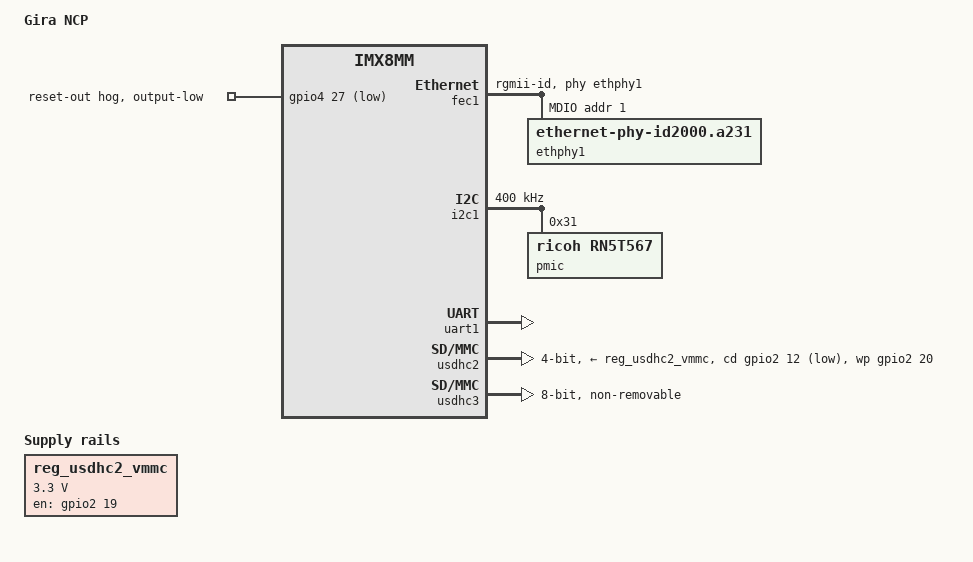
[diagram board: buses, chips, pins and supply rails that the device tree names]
// SPDX-License-Identifier: (GPL-2.0 OR MIT)
/*
 * Copyright 2026 Pengutronix
 */

/dts-v1/;

#include <arm64/freescale/imx8mm.dtsi>
#include <dt-bindings/net/ti-dp83867.h>
#include "imx8mm.dtsi"

/ {
	model = "Gira NCP";
	compatible = "gira,ncp", "fsl,imx8mm";

	chosen {
		stdout-path = &uart1;

		environment-sd {
			compatible = "barebox,environment";
			device-path = &env_usdhc2;
			status = "disabled";
		};

		environment-emmc {
			compatible = "barebox,environment";
			device-path = &env_usdhc3;
			status = "disabled";
		};
	};

	reg_usdhc2_vmmc: regulator-usdhc2 {
		compatible = "regulator-fixed";
		pinctrl-names = "default";
		pinctrl-0 = <&pinctrl_reg_usdhc2_vmmc>;
		regulator-name = "VSD_3V3";
		regulator-min-microvolt = <3300000>;
		regulator-max-microvolt = <3300000>;
		gpio = <&gpio2 19 GPIO_ACTIVE_HIGH>;
		enable-active-high;
		off-on-delay-us = <100000>;
	};
};

&fec1 {
	pinctrl-names = "default";
	pinctrl-0 = <&pinctrl_fec1>;
	phy-mode = "rgmii-id";
	phy-handle = <&ethphy1>;
	fsl,magic-packet;
	status = "okay";

	mdio {
		#address-cells = <1>;
		#size-cells = <0>;

		ethphy1: ethernet-phy@1 {
			compatible = "ethernet-phy-id2000.a231";
			reg = <1>;
			max-speed = <100>;
			ti,rx-internal-delay = <DP83867_RGMIIDCTL_2_25_NS>;
			ti,tx-internal-delay = <DP83867_RGMIIDCTL_2_75_NS>;
			ti,fifo-depth = <DP83867_PHYCR_FIFO_DEPTH_4_B_NIB>;
			ti,clk-output-sel = <DP83867_CLK_O_SEL_OFF>;
		};
	};
};

&gpio4 {
	/* This reset gpio affects an unknown number of peripherals, as it
	 * is derived from the SM2 module standard reset output, but we
	 * have no schematics to validate which peripherals it connects to
	 * in the NCP custom design.
	 */
	reset-out-hog {
		gpio-hog;
		gpios = <27 GPIO_ACTIVE_LOW>;
		line-name = "reset-out";
		output-low;
	};
};

&i2c1 {
	clock-frequency = <400000>;
	pinctrl-names = "default";
	pinctrl-0 = <&pinctrl_i2c1>;
	status = "okay";

	pmic@31 {
		compatible = "ricoh,rn5t567";
		reg = <0x31>;
		system-power-controller;
	};
};

&uart1 {
	pinctrl-names = "default";
	pinctrl-0 = <&pinctrl_uart1>;
	status = "okay";
};

&usdhc2 {
        pinctrl-names = "default";
        pinctrl-0 = <&pinctrl_usdhc2>;
        bus-width = <4>;
        cd-gpios = <&gpio2 12 GPIO_ACTIVE_LOW>;
        wp-gpios = <&gpio2 20 GPIO_ACTIVE_HIGH>;
        vmmc-supply = <&reg_usdhc2_vmmc>;
        no-1-8-v;
        status = "okay";

        partitions {
		compatible = "barebox,fixed-partitions";
		#address-cells = <2>;
		#size-cells = <2>;

		partition@0 {
			label = "barebox";
			reg = <0x0 0x0 0x0 0xe0000>;
		};

		env_usdhc2: partition@e0000 {
			label = "barebox-environment";
			reg = <0x0 0xe0000 0x0 0x20000>;
		};
	};
};

&usdhc3 {
	assigned-clocks = <&clk IMX8MM_CLK_USDHC3_ROOT>;
	assigned-clock-rates = <400000000>;
	pinctrl-names = "default", "state_100mhz", "state_200mhz";
	pinctrl-0 = <&pinctrl_usdhc3>;
	pinctrl-1 = <&pinctrl_usdhc3_100mhz>;
	pinctrl-2 = <&pinctrl_usdhc3_200mhz>;
	bus-width = <8>;
	non-removable;
	no-sdio;
	no-sd;
	status = "okay";

	partitions {
		compatible = "barebox,fixed-partitions";
		#address-cells = <2>;
		#size-cells = <2>;

		partition@0 {
			label = "barebox";
			reg = <0x0 0x0 0x0 0xe0000>;
		};

		env_usdhc3: partition@e0000 {
			label = "barebox-environment";
			reg = <0x0 0xe0000 0x0 0x20000>;
		};
	};
};

&iomuxc {
	pinctrl_fec1: fec1grp {
		fsl,pins = <
			MX8MM_IOMUXC_ENET_MDC_ENET1_MDC			0x3
			MX8MM_IOMUXC_ENET_MDIO_ENET1_MDIO		0x3
			MX8MM_IOMUXC_ENET_TX_CTL_ENET1_RGMII_TX_CTL	0x1f
			MX8MM_IOMUXC_ENET_TXC_ENET1_RGMII_TXC		0x1f
			MX8MM_IOMUXC_ENET_TD0_ENET1_RGMII_TD0		0x1f
			MX8MM_IOMUXC_ENET_TD1_ENET1_RGMII_TD1		0x1f
			MX8MM_IOMUXC_ENET_TD2_ENET1_RGMII_TD2		0x1f
			MX8MM_IOMUXC_ENET_TD3_ENET1_RGMII_TD3		0x1f
			MX8MM_IOMUXC_ENET_RX_CTL_ENET1_RGMII_RX_CTL	0x91
			MX8MM_IOMUXC_ENET_RXC_ENET1_RGMII_RXC		0x91
			MX8MM_IOMUXC_ENET_RD0_ENET1_RGMII_RD0		0x91
			MX8MM_IOMUXC_ENET_RD1_ENET1_RGMII_RD1		0x91
			MX8MM_IOMUXC_ENET_RD2_ENET1_RGMII_RD2		0x91
			MX8MM_IOMUXC_ENET_RD3_ENET1_RGMII_RD3		0x91
			MX8MM_IOMUXC_SAI5_RXC_GPIO3_IO20		0x19
		>;
	};

	pinctrl_gpio4: gpio4grp {
		fsl,pins = <
			MX8MM_IOMUXC_SAI2_MCLK_GPIO4_IO27		0x100
		>;
	};

	pinctrl_i2c1: i2c1grp {
		fsl,pins = <
			MX8MM_IOMUXC_I2C1_SCL_I2C1_SCL			0x400001c3
			MX8MM_IOMUXC_I2C1_SDA_I2C1_SDA			0x400001c3
		>;
	};

	pinctrl_uart1: uart1grp {
		fsl,pins = <
			MX8MM_IOMUXC_UART1_RXD_UART1_DCE_RX		0x40
			MX8MM_IOMUXC_UART1_TXD_UART1_DCE_TX		0x40
		>;
	};

	pinctrl_usdhc2: usdhc2grp {
		fsl,pins = <
			MX8MM_IOMUXC_SD2_CLK_USDHC2_CLK			0x190
			MX8MM_IOMUXC_SD2_CMD_USDHC2_CMD			0x1d0
			MX8MM_IOMUXC_SD2_DATA0_USDHC2_DATA0		0x1d0
			MX8MM_IOMUXC_SD2_DATA1_USDHC2_DATA1		0x1d0
			MX8MM_IOMUXC_SD2_DATA2_USDHC2_DATA2		0x1d0
			MX8MM_IOMUXC_SD2_DATA3_USDHC2_DATA3		0x1d0
			MX8MM_IOMUXC_SD2_CD_B_GPIO2_IO12		0x41
			MX8MM_IOMUXC_SD2_WP_GPIO2_IO20			0x41
		>;
	};

	pinctrl_usdhc3: usdhc3grp {
		fsl,pins = <
			MX8MM_IOMUXC_NAND_WE_B_USDHC3_CLK		0x190
			MX8MM_IOMUXC_NAND_WP_B_USDHC3_CMD		0x1d0
			MX8MM_IOMUXC_NAND_DATA04_USDHC3_DATA0		0x1d0
			MX8MM_IOMUXC_NAND_DATA05_USDHC3_DATA1		0x1d0
			MX8MM_IOMUXC_NAND_DATA06_USDHC3_DATA2		0x1d0
			MX8MM_IOMUXC_NAND_DATA07_USDHC3_DATA3		0x1d0
			MX8MM_IOMUXC_NAND_RE_B_USDHC3_DATA4		0x1d0
			MX8MM_IOMUXC_NAND_CE2_B_USDHC3_DATA5		0x1d0
			MX8MM_IOMUXC_NAND_CE3_B_USDHC3_DATA6		0x1d0
			MX8MM_IOMUXC_NAND_CLE_USDHC3_DATA7		0x1d0
			MX8MM_IOMUXC_NAND_CE1_B_USDHC3_STROBE		0x190
			MX8MM_IOMUXC_NAND_READY_B_SD3_RESET_B		0x40
		>;
	};

	pinctrl_usdhc3_100mhz: usdhc3grp100mhz {
		fsl,pins = <
			MX8MM_IOMUXC_NAND_WE_B_USDHC3_CLK		0x194
			MX8MM_IOMUXC_NAND_WP_B_USDHC3_CMD		0x1d4
			MX8MM_IOMUXC_NAND_DATA04_USDHC3_DATA0		0x1d4
			MX8MM_IOMUXC_NAND_DATA05_USDHC3_DATA1		0x1d4
			MX8MM_IOMUXC_NAND_DATA06_USDHC3_DATA2		0x1d4
			MX8MM_IOMUXC_NAND_DATA07_USDHC3_DATA3		0x1d4
			MX8MM_IOMUXC_NAND_RE_B_USDHC3_DATA4		0x1d4
			MX8MM_IOMUXC_NAND_CE2_B_USDHC3_DATA5		0x1d4
			MX8MM_IOMUXC_NAND_CE3_B_USDHC3_DATA6		0x1d4
			MX8MM_IOMUXC_NAND_CLE_USDHC3_DATA7		0x1d4
			MX8MM_IOMUXC_NAND_CE1_B_USDHC3_STROBE		0x194
		>;
	};

	pinctrl_usdhc3_200mhz: usdhc3grp200mhz {
		fsl,pins = <
			MX8MM_IOMUXC_NAND_WE_B_USDHC3_CLK		0x196
			MX8MM_IOMUXC_NAND_WP_B_USDHC3_CMD		0x1d6
			MX8MM_IOMUXC_NAND_DATA04_USDHC3_DATA0		0x1d6
			MX8MM_IOMUXC_NAND_DATA05_USDHC3_DATA1		0x1d6
			MX8MM_IOMUXC_NAND_DATA06_USDHC3_DATA2		0x1d6
			MX8MM_IOMUXC_NAND_DATA07_USDHC3_DATA3		0x1d6
			MX8MM_IOMUXC_NAND_RE_B_USDHC3_DATA4		0x1d6
			MX8MM_IOMUXC_NAND_CE2_B_USDHC3_DATA5		0x1d6
			MX8MM_IOMUXC_NAND_CE3_B_USDHC3_DATA6		0x1d6
			MX8MM_IOMUXC_NAND_CLE_USDHC3_DATA7		0x1d6
			MX8MM_IOMUXC_NAND_CE1_B_USDHC3_STROBE		0x196
		>;
	};

	pinctrl_reg_usdhc2_vmmc: regusdhc2vmmcgrp {
		fsl,pins = <
			MX8MM_IOMUXC_SD2_RESET_B_GPIO2_IO19		0x41
		>;
	};
};
